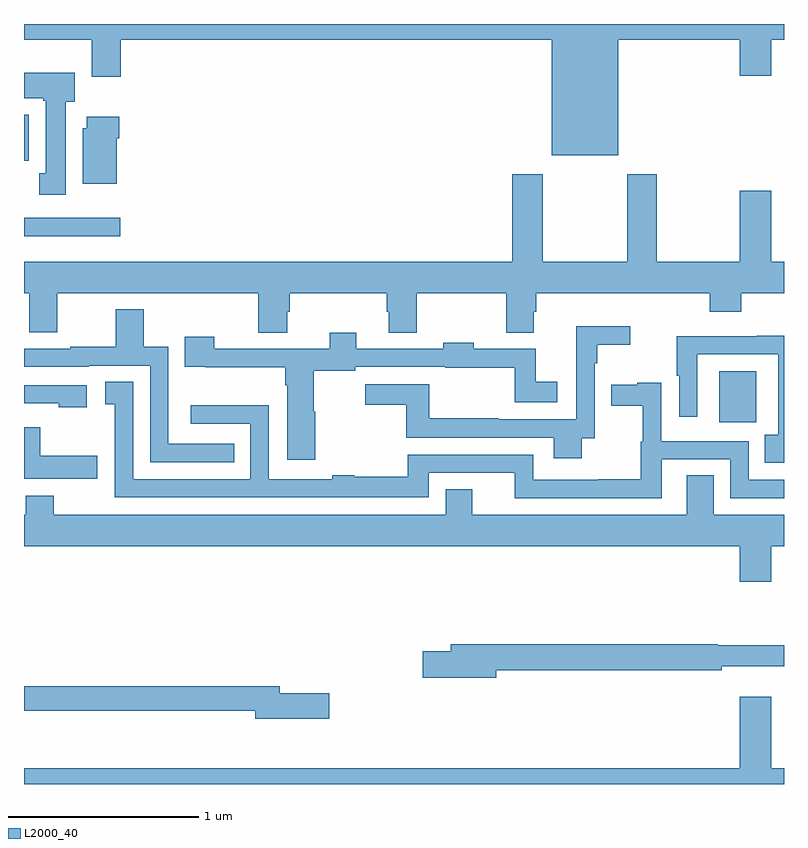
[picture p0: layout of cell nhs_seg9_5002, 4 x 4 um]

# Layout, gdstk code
import gdstk
lib = gdstk.Library(unit=1e-6, precision=1e-09)
def R(c, l, rs):  # rectangles x0, y0, x1, y1
    for r in rs: c.add(gdstk.rectangle(r[:2], r[2:], *l))
def P(c, l, *ps):  # polygons
    for p in ps: c.add(gdstk.Polygon(p, *l))
L2000_40 = (2000, 40)

nhs_seg9_5002 = lib.new_cell('nhs_seg9_5002')
R(nhs_seg9_5002, L2000_40, [(404.66,1198.404,404.854,1198.672), (401,1199.384,401.506,1199.481), (401,1199.78,401.026,1200.022)])
P(nhs_seg9_5002, L2000_40, [(404.128,1200.416),(404.768,1200.416),(404.768,1200.228),(404.932,1200.228),(404.932,1200.416),(405,1200.416),(405,1200.5),(401,1200.5),(401,1200.416),(401.357,1200.416),(401.357,1200.222),(401.51,1200.222),(401.51,1200.416),(403.778,1200.416),(403.778,1199.81),(404.128,1199.81)],
  [(401.221,1200.09),(401.266,1200.09),(401.266,1200.244),(401,1200.244),(401,1200.11),(401.101,1200.11),(401.101,1200.097),(401.114,1200.097),(401.114,1199.714),(401.081,1199.714),(401.081,1199.601),(401.221,1199.601)],
  [(401.488,1199.9),(401.501,1199.9),(401.501,1200.013),(401.33,1200.013),(401.33,1199.952),(401.309,1199.952),(401.309,1199.66),(401.488,1199.66)],
  [(402.385,1198.986),(402.398,1198.986),(402.398,1199.084),(402.908,1199.084),(402.908,1198.986),(402.92,1198.986),(402.92,1198.876),(403.068,1198.876),(403.068,1199.084),(403.537,1199.084),(403.537,1198.876),(403.684,1198.876),(403.684,1198.986),(403.697,1198.986),(403.697,1199.084),(404.609,1199.084),(404.609,1198.985),(404.774,1198.985),(404.774,1199.084),(405,1199.084),(405,1199.248),(404.932,1199.248),(404.932,1199.623),(404.768,1199.623),(404.768,1199.248),(404.331,1199.248),(404.331,1199.71),(404.176,1199.71),(404.176,1199.248),(403.731,1199.248),(403.731,1199.71),(403.571,1199.71),(403.571,1199.248),(401,1199.248),(401,1199.084),(401.027,1199.084),(401.027,1198.878),(401.175,1198.878),(401.175,1199.084),(402.233,1199.084),(402.233,1198.876),(402.385,1198.876)],
  [(402.107,1198.29),(401.76,1198.29),(401.76,1198.802),(401.629,1198.802),(401.629,1198.999),(401.482,1198.999),(401.482,1198.802),(401.244,1198.802),(401.244,1198.791),(401,1198.791),(401,1198.695),(401.34,1198.695),(401.34,1198.701),(401.664,1198.701),(401.664,1198.194),(402.107,1198.194)],
  [(403.935,1198.321),(404.004,1198.321),(404.004,1198.715),(404.017,1198.715),(404.017,1198.811),(404.191,1198.811),(404.191,1198.909),(403.907,1198.909),(403.907,1198.419),(403.499,1198.419),(403.499,1198.424),(403.132,1198.424),(403.132,1198.605),(402.795,1198.605),(402.795,1198.497),(403.011,1198.497),(403.011,1198.323),(403.787,1198.323),(403.787,1198.214),(403.935,1198.214)],
  [(402.534,1198.458),(402.526,1198.458),(402.526,1198.675),(402.744,1198.675),(402.744,1198.695),(403.218,1198.695),(403.218,1198.69),(403.584,1198.69),(403.584,1198.508),(403.807,1198.508),(403.807,1198.618),(403.694,1198.618),(403.694,1198.791),(403.367,1198.791),(403.367,1198.822),(403.207,1198.822),(403.207,1198.791),(402.748,1198.791),(402.748,1198.876),(402.608,1198.876),(402.608,1198.791),(402.002,1198.791),(402.002,1198.855),(401.845,1198.855),(401.845,1198.695),(401.953,1198.695),(401.953,1198.694),(402.374,1198.694),(402.374,1198.598),(402.386,1198.598),(402.386,1198.206),(402.534,1198.206)],
  [(405,1198.86),(404.857,1198.86),(404.857,1198.857),(404.436,1198.857),(404.436,1198.65),(404.448,1198.65),(404.448,1198.434),(404.544,1198.434),(404.544,1198.761),(404.969,1198.761),(404.969,1198.337),(404.899,1198.337),(404.899,1198.19),(405,1198.19)],
  [(404.356,1198.209),(404.718,1198.209),(404.718,1198.005),(405,1198.005),(405,1198.101),(404.814,1198.101),(404.814,1198.305),(404.355,1198.305),(404.355,1198.612),(404.228,1198.612),(404.228,1198.601),(404.091,1198.601),(404.091,1198.491),(404.257,1198.491),(404.257,1198.302),(404.247,1198.302),(404.247,1198.104),(404.023,1198.104),(404.023,1198.101),(403.68,1198.101),(403.68,1198.233),(403.019,1198.233),(403.019,1198.117),(402.738,1198.117),(402.738,1198.124),(402.622,1198.124),(402.622,1198.104),(402.288,1198.104),(402.288,1198.493),(401.877,1198.493),(401.877,1198.395),(402.192,1198.395),(402.192,1198.104),(401.574,1198.104),(401.574,1198.616),(401.427,1198.616),(401.427,1198.498),(401.478,1198.498),(401.478,1198.008),(403.131,1198.008),(403.131,1198.137),(403.582,1198.137),(403.582,1198.005),(404.356,1198.005)],
  [(401.329,1198.599),(401,1198.599),(401,1198.503),(401.184,1198.503),(401.184,1198.484),(401.329,1198.484)],
  [(401.386,1198.228),(401.085,1198.228),(401.085,1198.378),(401,1198.378),(401,1198.106),(401.386,1198.106)],
  [(404.932,1197.752),(405,1197.752),(405,1197.916),(404.629,1197.916),(404.629,1198.124),(404.489,1198.124),(404.489,1197.916),(403.36,1197.916),(403.36,1198.052),(403.22,1198.052),(403.22,1197.916),(401.157,1197.916),(401.157,1198.018),(401.009,1198.018),(401.009,1197.916),(401,1197.916),(401,1197.752),(404.768,1197.752),(404.768,1197.564),(404.932,1197.564)],
  [(403.486,1197.1),(404.672,1197.1),(404.672,1197.119),(405,1197.119),(405,1197.229),(404.651,1197.229),(404.651,1197.236),(403.247,1197.236),(403.247,1197.2),(403.098,1197.2),(403.098,1197.058),(403.486,1197.058)],
  [(402.607,1196.978),(402.346,1196.978),(402.346,1197.014),(401,1197.014),(401,1196.886),(402.218,1196.886),(402.218,1196.843),(402.607,1196.843)],
  [(405,1196.584),(404.932,1196.584),(404.932,1196.959),(404.768,1196.959),(404.768,1196.584),(401,1196.584),(401,1196.5),(405,1196.5)])

lib.write_gds('nhs_seg9_5002.gds')
